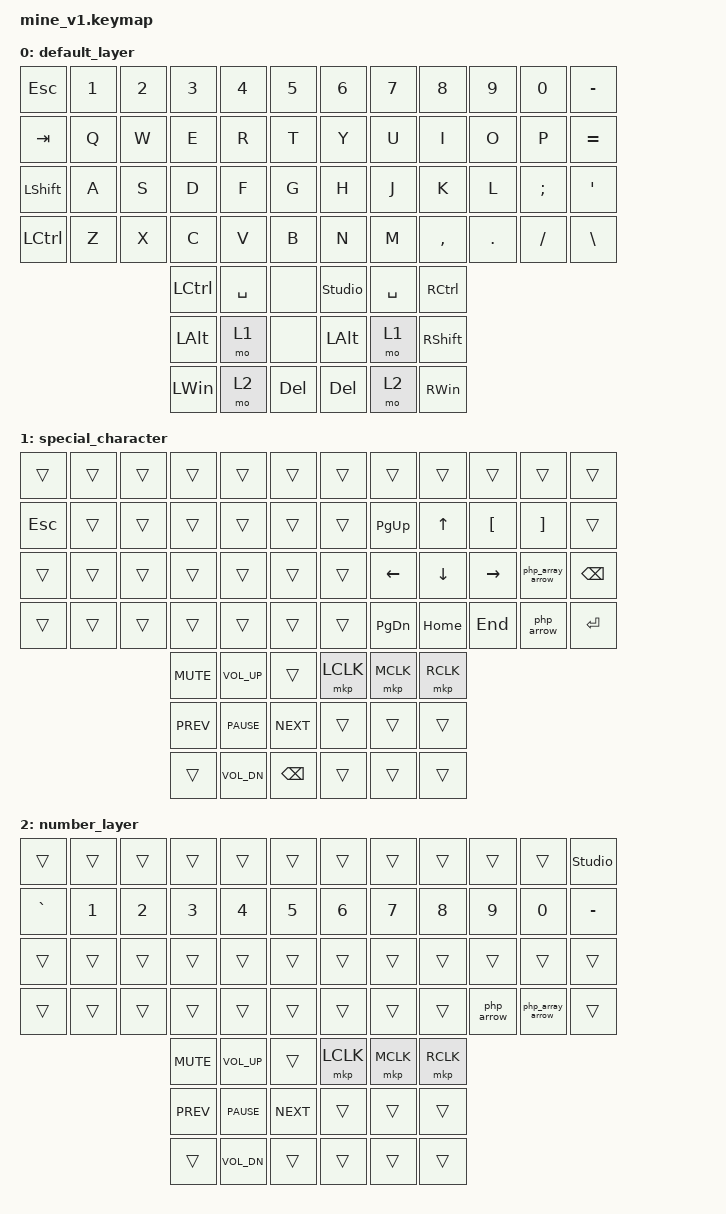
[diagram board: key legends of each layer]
#include <dt-bindings/zmk/mouse.h>
#include <behaviors.dtsi>
#include <dt-bindings/zmk/keys.h>
#include <dt-bindings/zmk/pointing.h>

/ {
    combos {
        compatible = "zmk,combos";

        delete {
            bindings = <&kp DELETE>;
            key-positions = <35 36>;
        };

        comb_php_array_arrow {
            bindings = <&php_array_arrow>;
            key-positions = <55 24 46>;
        };
    };

    macros {
        php_arrow: php_arrow {
            compatible = "zmk,behavior-macro";
            #binding-cells = <0>;
            bindings = <&kp MINUS &kp GREATER_THAN>;
            label = "PHP_ARROW";
        };

        php_array_arrow: php_array_arrow {
            compatible = "zmk,behavior-macro";
            #binding-cells = <0>;
            bindings = <&kp EQUAL &kp GT>;
            label = "PHP_ARRAY_ARROW";
        };
    };

    keymap {
        compatible = "zmk,keymap";

        default_layer {
            bindings = <
&kp ESC         &kp NUMBER_1  &kp NUMBER_2  &kp NUMBER_3  &kp NUMBER_4  &kp N5      &kp NUMBER_6    &kp N7     &kp N8           &kp N9      &kp N0         &kp MINUS
&kp TAB         &kp Q         &kp W         &kp E         &kp R         &kp T       &kp Y           &kp U      &kp I            &kp O       &kp P          &kp EQUAL
&kp LEFT_SHIFT  &kp A         &kp S         &kp D         &kp F         &kp G       &kp H           &kp J      &kp K            &kp L       &kp SEMICOLON  &kp SQT
&kp LCTRL       &kp Z         &kp X         &kp C         &kp V         &kp B       &kp N           &kp M      &kp COMMA        &kp PERIOD  &kp SLASH      &kp BACKSLASH
                                            &kp LCTRL     &kp SPACE     &none       &studio_unlock  &kp SPACE  &kp RCTRL
                                            &kp LEFT_ALT  &mo 1         &none       &kp LEFT_ALT    &mo 1      &kp RIGHT_SHIFT
                                            &kp LEFT_WIN  &mo 2         &kp DELETE  &kp DELETE      &mo 2      &kp RIGHT_WIN
            >;
        };

        special_character {
            bindings = <
&trans      &trans  &trans  &trans      &trans           &trans         &trans     &trans     &trans     &trans     &trans            &trans
&kp ESCAPE  &trans  &trans  &trans      &trans           &trans         &trans     &kp PG_UP  &kp UP     &kp LBKT   &kp RBKT          &trans
&trans      &trans  &trans  &trans      &trans           &trans         &trans     &kp LEFT   &kp DOWN   &kp RIGHT  &php_array_arrow  &kp BACKSPACE
&trans      &trans  &trans  &trans      &trans           &trans         &trans     &kp PG_DN  &kp HOME   &kp END    &php_arrow        &kp ENTER
                            &kp C_MUTE  &kp C_VOLUME_UP  &trans         &mkp LCLK  &mkp MCLK  &mkp RCLK
                            &kp C_PREV  &kp C_PAUSE      &kp C_NEXT     &trans     &trans     &trans
                            &trans      &kp C_VOL_DN     &kp BACKSPACE  &trans     &trans     &trans
            >;
        };

        number_layer {
            bindings = <
&trans     &trans        &trans        &trans        &trans           &trans        &trans        &trans        &trans        &trans        &trans            &studio_unlock
&kp GRAVE  &kp NUMBER_1  &kp NUMBER_2  &kp NUMBER_3  &kp NUMBER_4     &kp NUMBER_5  &kp NUMBER_6  &kp NUMBER_7  &kp NUMBER_8  &kp NUMBER_9  &kp NUMBER_0      &kp MINUS
&trans     &trans        &trans        &trans        &trans           &trans        &trans        &trans        &trans        &trans        &trans            &trans
&trans     &trans        &trans        &trans        &trans           &trans        &trans        &trans        &trans        &php_arrow    &php_array_arrow  &trans
                                       &kp C_MUTE    &kp C_VOLUME_UP  &trans        &mkp LCLK     &mkp MCLK     &mkp RCLK
                                       &kp C_PREV    &kp C_PAUSE      &kp C_NEXT    &trans        &trans        &trans
                                       &trans        &kp C_VOL_DN     &trans        &trans        &trans        &trans
            >;
        };

        extra_layer_2 {
            status = "reserved";
        };
        
        extra_layer_3 {
            status = "reserved";
        };
        extra_layer_4 {
            status = "reserved";
        };
        
        extra_layer_5 {
            status = "reserved";
        };
    };
};
